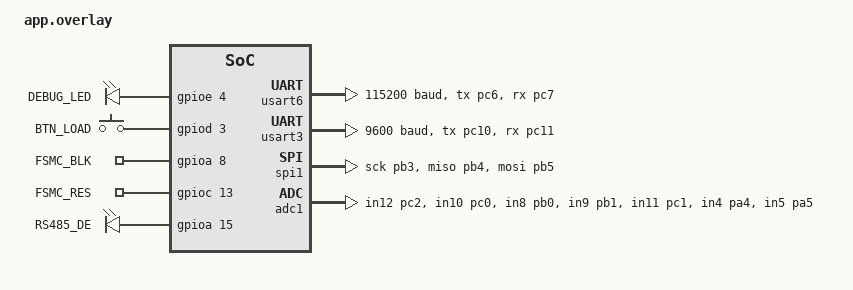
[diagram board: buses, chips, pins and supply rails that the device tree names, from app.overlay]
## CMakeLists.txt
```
cmake_minimum_required(VERSION 3.20.0)

find_package(Zephyr REQUIRED HINTS $ENV{ZEPHYR_BASE})
project(datalogger_zephyr)

# Đăng ký các thư mục Include (Tất cả đã nằm dưới src/)
target_include_directories(app PRIVATE
    src/services
    src/mock
    src/app
    src/bsp
)

# Đăng ký các file mã nguồn C
target_sources(app PRIVATE
    src/main.c
    
    
    # Services (Pure C99)
    src/services/com_protocol.c
    src/services/fault_manager.c
    src/services/button_manager.c
    src/services/keypad_multitap.c
    src/services/channel_config.c
    src/services/channel_hw_caps.c
    src/services/channel_manager.c
    src/services/driver_registry.c
  
    
    # Application Logic (Pure C99)
    src/app/app_fsm.c
    
    # Zephyr BSP Drivers
    src/bsp/bsp_uart_zephyr.c
    src/bsp/bsp_button_zephyr.c
    src/bsp/bsp_lcd_zephyr.c
    src/bsp/lcd_font.c
    src/bsp/bsp_adc_zephyr.c
    src/bsp/bsp_dout_zephyr.c
    src/bsp/bsp_din_zephyr.c
    src/bsp/bsp_rs485_zephyr.c
)
```

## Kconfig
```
# Copyright (c) 2026
# SPDX-License-Identifier: Apache-2.0

mainmenu "Datalogger Zephyr Application"

config APP_ENABLE_STM32_HAL_FSMC
	bool "Enable STM32 HAL/LL for Custom FSMC LCD"
	default y
	select USE_STM32_HAL_SRAM
	select USE_STM32_LL_FSMC
	select USE_STM32_HAL_GPIO
	select USE_STM32_HAL_RCC

source "Kconfig.zephyr"
```

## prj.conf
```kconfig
# Bật bộ điều khiển GPIO và Bus
CONFIG_GPIO=y
CONFIG_SERIAL=y
CONFIG_UART_INTERRUPT_DRIVEN=y
CONFIG_SPI=y

# Hạ tầng RTOS cho giao tiếp liên luồng (IPC)
CONFIG_RING_BUFFER=y
CONFIG_POLL=y

# Cấp phát bộ nhớ Stack & Debugging
CONFIG_MAIN_STACK_SIZE=2048
CONFIG_SYSTEM_WORKQUEUE_STACK_SIZE=4096
CONFIG_THREAD_STACK_INFO=y

# Kích hoạt module FSMC STM32 HAL/LL thông qua Application Kconfig
CONFIG_APP_ENABLE_STM32_HAL_FSMC=y

# Hỗ trợ khởi động lại và định dạng số thực
CONFIG_REBOOT=y
CONFIG_CBPRINTF_FP_SUPPORT=y


# Cấu hình Flash Map lưu trữ cấu hình kênh (Rolling Slot trực tiếp trên Sector 11)
CONFIG_FLASH=y
CONFIG_FLASH_MAP=y
CONFIG_FLASH_PAGE_LAYOUT=y
CONFIG_MPU_ALLOW_FLASH_WRITE=y


#config ADC
CONFIG_ADC=y


# Bật hệ thống Logging của Zephyr
CONFIG_LOG=y
CONFIG_LOG_MODE_DEFERRED=y

# Chuyển toàn bộ Console và Log sang giao tiếp SEGGER RTT qua cổng nạp
CONFIG_USE_SEGGER_RTT=y
CONFIG_RTT_CONSOLE=y
CONFIG_LOG_BACKEND_RTT=y

# Tắt Console UART để không tranh chấp với driver khác
CONFIG_UART_CONSOLE=n
```

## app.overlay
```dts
/ {
    chosen {
        /* Không gán zephyr,console vào usart3 để tránh xung đột giao tiếp ESP32 Gateway */
    };

    leds {
        compatible = "gpio-leds";
        debug_led: led_0 {
            gpios = <&gpioe 4 GPIO_ACTIVE_HIGH>;
            label = "DEBUG_LED";
        };
    };

    custom_pins {
        compatible = "gpio-keys";
        btn_load: btn_load {
            gpios = <&gpiod 3 GPIO_ACTIVE_HIGH>;
            label = "BTN_LOAD";
        };
        lcd_blk: lcd_blk {
            gpios = <&gpioa 8 GPIO_ACTIVE_HIGH>;
            label = "FSMC_BLK";
        };
        fsmc_res: fsmc_res {
            gpios = <&gpioc 13 GPIO_ACTIVE_HIGH>;
            label = "FSMC_RES";
        };
    };

    rs485_ctrl {
        compatible = "gpio-leds";
        rs485_de: rs485_de {
            gpios = <&gpioa 15 GPIO_ACTIVE_HIGH>;
            label = "RS485_DE";
        };
    };
};

/* Cấu hình UART6 kết nối ESP32 Gateway (PC6/PC7) */
&usart6 {
    pinctrl-0 = <&usart6_tx_pc6 &usart6_rx_pc7>;
    pinctrl-names = "default";
    current-speed = <115200>;
    status = "okay";
};

/* Cấu hình USART3 cho RS485 (PC10/PC11) */
&usart3 {
    pinctrl-0 = <&usart3_tx_pc10 &usart3_rx_pc11>;
    pinctrl-names = "default";
    current-speed = <9600>; /* Tốc độ phổ biến của cảm biến RS485 */
    status = "okay";
};

/* Cấu hình SPI1 đọc thanh ghi dịch 74HC165 */
&spi1 {
    pinctrl-0 = <&spi1_sck_pb3 &spi1_miso_pb4 &spi1_mosi_pb5>;
    pinctrl-names = "default";
    status = "okay";
};

/* Phân vùng Flash nội STM32F407 cho Zephyr NVS */
&flash0 {
    partitions {
        compatible = "fixed-partitions";
        #address-cells = <1>;
        #size-cells = <1>;

        /*  Sector cuối ( Sector 11: 128KB = 128KB) dành cho NVS */
        storage_partition: partition@e0000 {
            label = "storage";
            reg = <0x000e0000 0x00020000>;
        };
    };
};


/* Cấu hình ADC1 và ánh xạ 7 chân Analog */
&adc1 {
    pinctrl-0 = <
        &adc1_in12_pc2  /* CH1 - LM35 (PC2) */
        &adc1_in10_pc0  /* CH2 - LDR (PC0) */
        &adc1_in8_pb0   /* CH3 - Power Divider (PB0) */
        &adc1_in9_pb1   /* CH4 - ACS712 (PB1) */
        &adc1_in11_pc1  /* CH5 - VR1 (PC1) */
        &adc1_in4_pa4   /* CH6 - Header P11-3 (PA4) */
        &adc1_in5_pa5   /* CH7 - Header P11-1 (PA5) */
    >;
    pinctrl-names = "default";
    status = "okay";
};

&i2s3 {
    status = "disabled";
};
```

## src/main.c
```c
/**
 * @file main.c
 * @brief Điểm khởi tạo hệ thống Datalogger trên Zephyr RTOS (BKIT STM32F407).
 */

#include <zephyr/kernel.h>
#include <zephyr/device.h>
#include <zephyr/drivers/gpio.h>
#include <zephyr/logging/log.h>

#include "channel_manager.h"
#include "fault_manager.h"
#include "app_fsm.h"

LOG_MODULE_REGISTER(main, LOG_LEVEL_INF);

/* Context toàn cục của hệ thống */
static app_context_t g_app;
static channel_manager_t g_channel_mgr;
static fault_manager_t g_fault_mgr;

/* Node LED debug trên bo mạch (PE4) */
#define DEBUG_LED_NODE DT_NODELABEL(debug_led)
static const struct gpio_dt_spec s_debug_led = GPIO_DT_SPEC_GET(DEBUG_LED_NODE, gpios);

int main(void)
{
    LOG_INF("==============================================");
    LOG_INF("  DATALOGGER BKIT STM32F407 - ZEPHYR RTOS     ");
    LOG_INF("==============================================");

    /* 1. Cấu hình GPIO Debug LED */
    if (gpio_is_ready_dt(&s_debug_led)) {
        gpio_pin_configure_dt(&s_debug_led, GPIO_OUTPUT_INACTIVE);
    }

    /* 2. Khởi tạo Fault Manager */
    fault_manager_init(&g_fault_mgr);

    /* 3. Khởi tạo Channel Manager (Mount Flash NVS, nạp cấu hình đã lưu) */
    channel_manager_init(&g_channel_mgr, &g_fault_mgr);

    

    /* 4. Khởi tạo FSM với các driver BSP trực tiếp */
    app_dependencies_t deps = {
        .channel_mgr  = &g_channel_mgr,
        .fault_mgr    = &g_fault_mgr,
        .button_count = 16
    };
    app_init(&g_app, &deps);

    LOG_INF("He thong da khoi dong thanh cong. Bat dau FSM loop...");

    /* 6. Vòng lặp điều phối chính (FSM Step + Debug LED) */
    uint32_t last_led_toggle_ms = 0;

    while (1) {
        uint32_t now_ms = k_uptime_get_32();

        /* Thực thi một chu kỳ của App FSM (kèm xử lý byte UART từ k_msgq trong Thread Mode) */
        app_run_step(&g_app, now_ms);

        /* Nhấp nháy Debug LED chu kỳ 500ms */
        if (now_ms - last_led_toggle_ms >= 500) {
            last_led_toggle_ms = now_ms;
            if (gpio_is_ready_dt(&s_debug_led)) {
                gpio_pin_toggle_dt(&s_debug_led);
            }
        }

        /* Nhường CPU cho các luồng hệ thống và ISR */
        k_msleep(10);
    }

    return 0;
}
```
